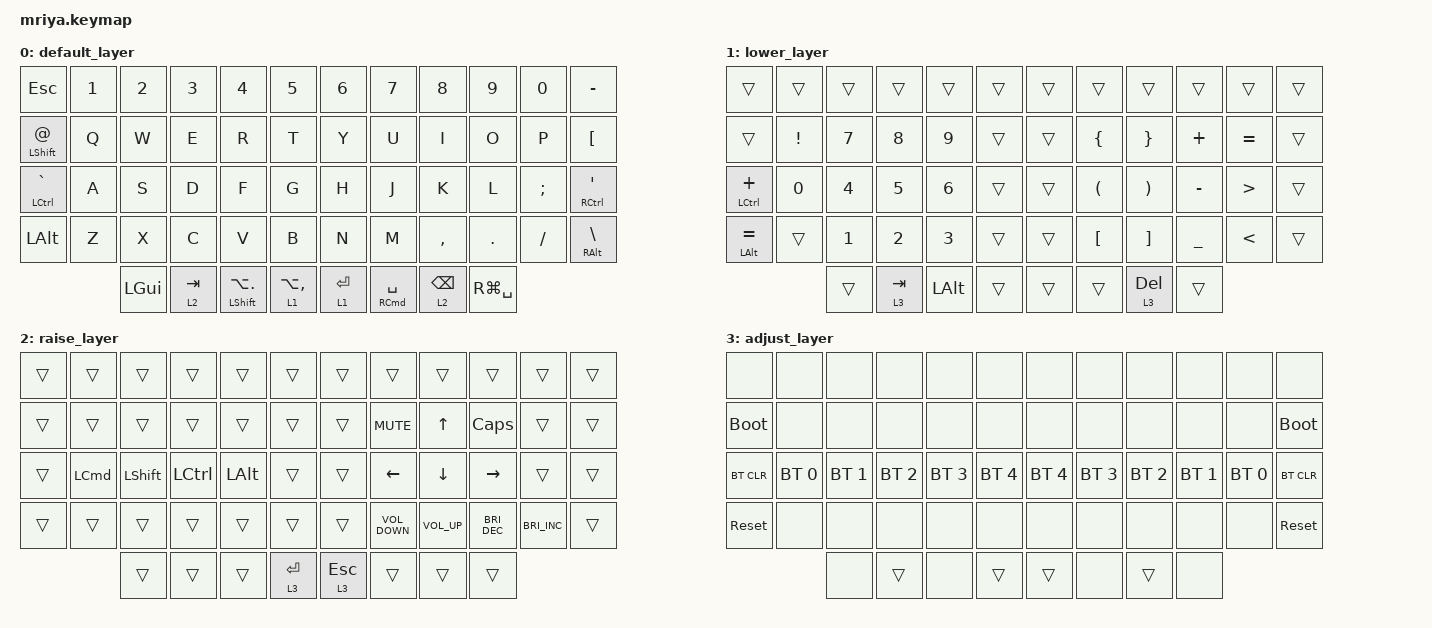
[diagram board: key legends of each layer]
/*
 * Copyright (c) 2023 Andrei Gaevskii
 *
 * SPDX-License-Identifier: MIT
 */

#include <behaviors.dtsi>
#include <dt-bindings/zmk/bt.h>
#include <dt-bindings/zmk/keys.h>

#define DEF 0
#define LWR 1
#define RSE 2
#define ADJ 3

&lt { quick_tap_ms = <200>; };

&mt { quick_tap_ms = <200>; };

/ {
    keymap {
        compatible = "zmk,keymap";

        default_layer {
            bindings = <
  &kp ESCAPE       &kp N1  &kp N2    &kp N3     &kp N4                     &kp N5             &kp N6       &kp N7                   &kp N8           &kp N9         &kp N0         &kp MINUS
  &mt LSHFT AT     &kp Q   &kp W     &kp E      &kp R                      &kp T              &kp Y        &kp U                    &kp I            &kp O          &kp P          &kp LBKT
  &mt LCTRL GRAVE  &kp A   &kp S     &kp D      &kp F                      &kp G              &kp H        &kp J                    &kp K            &kp L          &kp SEMICOLON  &mt RCTRL SQT
  &kp LALT         &kp Z   &kp X     &kp C      &kp V                      &kp B              &kp N        &kp M                    &kp COMMA        &kp DOT        &kp FSLH       &mt RALT BSLH
                           &kp LGUI  &lt 2 TAB  &mt LEFT_SHIFT LA(PERIOD)  &lt 1 LA(COMMA)    &lt 1 ENTER  &mt RIGHT_COMMAND SPACE  &lt 2 BACKSPACE  &kp RG(SPACE)
            >;
        };

        lower_layer {
            bindings = <
  &trans          &trans           &trans        &trans        &trans        &trans    &trans  &trans                &trans                 &trans          &trans            &trans
  &trans          &kp EXCLAMATION  &kp N7        &kp N8        &kp N9        &trans    &trans  &kp LEFT_BRACE        &kp RIGHT_BRACE        &kp PLUS        &kp EQUAL         &trans
  &mt LCTRL PLUS  &kp N0           &kp NUMBER_4  &kp N5        &kp NUMBER_6  &trans    &trans  &kp LEFT_PARENTHESIS  &kp RIGHT_PARENTHESIS  &kp MINUS       &kp GREATER_THAN  &trans
  &mt LALT EQUAL  &trans           &kp NUMBER_1  &kp NUMBER_2  &kp NUMBER_3  &trans    &trans  &kp LEFT_BRACKET      &kp RIGHT_BRACKET      &kp UNDERSCORE  &kp LESS_THAN     &trans
                                   &trans        &lt 3 TAB     &kp LALT      &trans    &trans  &trans                &lt 3 DEL              &trans
            >;
        };

        raise_layer {
            bindings = <
  &trans  &trans            &trans     &trans     &trans    &trans       &trans     &trans             &trans           &trans                &trans                &trans
  &trans  &trans            &trans     &trans     &trans    &trans       &trans     &kp K_MUTE         &kp UP_ARROW     &kp CAPSLOCK          &trans                &trans
  &trans  &kp LEFT_COMMAND  &kp LSHFT  &kp LCTRL  &kp LALT  &trans       &trans     &kp LEFT           &kp DOWN_ARROW   &kp RIGHT             &trans                &trans
  &trans  &trans            &trans     &trans     &trans    &trans       &trans     &kp C_VOLUME_DOWN  &kp C_VOLUME_UP  &kp C_BRIGHTNESS_DEC  &kp C_BRIGHTNESS_INC  &trans
                            &trans     &trans     &trans    &lt 3 RET    &lt 3 ESC  &trans             &trans           &trans
            >;
        };

        adjust_layer {
            bindings = <
  &none        &none         &none         &none         &none         &none           &none         &none         &none         &none         &none         &none
  &bootloader  &none         &none         &none         &none         &none           &none         &none         &none         &none         &none         &bootloader
  &bt BT_CLR   &bt BT_SEL 0  &bt BT_SEL 1  &bt BT_SEL 2  &bt BT_SEL 3  &bt BT_SEL 4    &bt BT_SEL 4  &bt BT_SEL 3  &bt BT_SEL 2  &bt BT_SEL 1  &bt BT_SEL 0  &bt BT_CLR
  &sys_reset   &none         &none         &none         &none         &none           &none         &none         &none         &none         &none         &sys_reset
                             &none         &trans        &none         &trans          &trans        &none         &trans        &none
            >;
        };
    };
};
